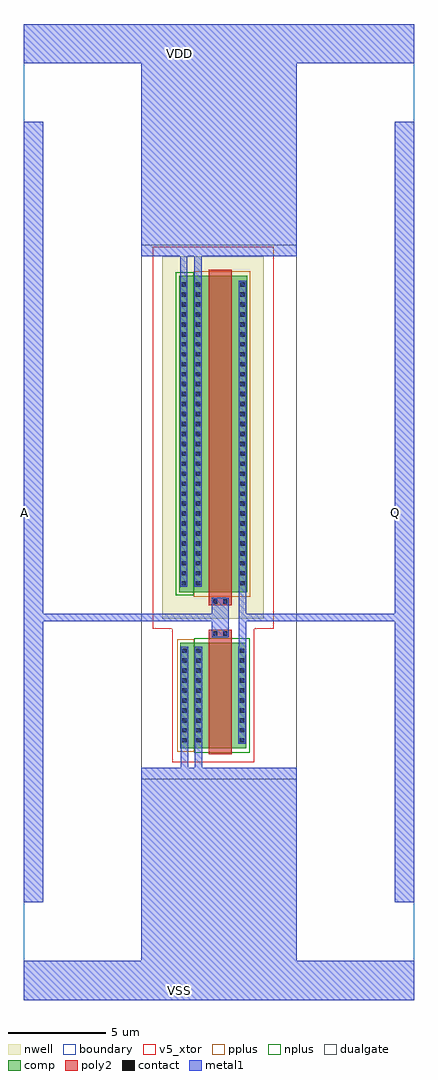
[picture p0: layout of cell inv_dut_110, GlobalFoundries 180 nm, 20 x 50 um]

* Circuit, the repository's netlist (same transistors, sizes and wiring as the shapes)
* inv_dut_110: pfet_05v0 W=16.20u L=1.20u / nfet_05v0 W=5.40u L=1.20u
.SUBCKT inv_dut_110 A Q VDD VSS
MMP Q A VDD VDD pfet_05v0 W=16.20u L=1.20u
MMN Q A VSS VSS nfet_05v0 W=5.40u L=1.20u
.ENDS

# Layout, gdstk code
import gdstk
lib = gdstk.Library(unit=1e-6, precision=1e-09)
def R(c, l, rs):  # rectangles x0, y0, x1, y1
    for r in rs: c.add(gdstk.rectangle(r[:2], r[2:], *l))
def A(c, l, x, y, w, h, nx, ny, dx, dy):  # array of equal rectangles
    R(c, l, [(x+i*dx, y+j*dy, x+i*dx+w, y+j*dy+h) for i in range(nx) for j in range(ny)])
boundary = (0, 0)
nwell = (21, 0)
comp = (22, 0)
poly2 = (30, 0)
pplus = (31, 0)
nplus = (32, 0)
contact = (33, 0)
metal1 = (34, 0)
dualgate = (55, 0)
v5_xtor = (112, 1)

inv_dut_110 = lib.new_cell('inv_dut_110')
R(inv_dut_110, boundary, [(-10,-25,10,25)])
R(inv_dut_110, nwell, [(-2.895,-5.47,2.295,13.09)])
R(inv_dut_110, comp, [(-1.975,-12.1,1.395,-6.7), (-2.035,-4.1,1.435,12.1)])
R(inv_dut_110, poly2, [(-0.535,-12.4,0.665,-6.04), (-0.535,-4.78,0.665,12.4)])
R(inv_dut_110, pplus, [(-2.145,-12.27,-1.265,-6.53), (-1.305,-4.34,1.605,12.34)])
R(inv_dut_110, nplus, [(-1.265,-12.34,1.565,-6.46), (-2.205,-4.27,-1.305,12.27)])
A(inv_dut_110, contact, -1.875, -11.805, 0.22, 0.22, 1, 10, 0, 0.51)
A(inv_dut_110, contact, -1.165, -11.805, 0.22, 0.22, 1, 10, 0, 0.51)
A(inv_dut_110, contact, 1.075, -11.805, 0.22, 0.22, 1, 10, 0, 0.51)
A(inv_dut_110, contact, -1.915, -3.76, 0.22, 0.22, 1, 31, 0, 0.51)
A(inv_dut_110, contact, -1.185, -3.76, 0.22, 0.22, 1, 31, 0, 0.51)
A(inv_dut_110, contact, 1.095, -3.76, 0.22, 0.22, 1, 31, 0, 0.51)
R(inv_dut_110, contact, [(-0.3,-6.33,-0.08,-6.11), (0.21,-6.33,0.43,-6.11), (-0.3,-4.7,-0.08,-4.48), (0.21,-4.7,0.43,-4.48)])
R(inv_dut_110, metal1, [(-10,-25,10,-23), (-3.995,-23,3.995,-13.4), (-10,-20,-9,20), (9,-20,10,20), (-3.995,-13.7,3.995,-13.1), (-1.955,-13.7,-1.575,-6.915), (-1.245,-13.7,-0.865,-6.915), (-1.955,-11.885,-1.575,-6.915), (-1.245,-11.885,-0.865,-6.915), (0.995,-11.885,1.375,-6.915), (0.995,-7.295,1.395,-6.915), (1.015,-7.295,1.395,-3.46), (-0.38,-6.41,0.51,-4.4), (-0.38,-6.41,0.51,-6.03), (-9,-5.6,-3.695,-5.2), (-3.995,-5.6,0.51,-5.2), (1.015,-5.6,3.995,-5.2), (3.695,-5.6,9,-5.2), (-0.38,-4.78,0.51,-4.4), (-1.995,-3.84,-1.615,13.7), (-1.995,-3.84,-1.615,11.84), (-1.265,-3.84,-0.885,13.7), (-1.265,-3.84,-0.885,11.84), (1.015,-3.84,1.395,-3.46), (1.015,-3.84,1.395,11.84), (-3.995,13.1,3.995,13.7), (-3.995,13.4,3.995,23), (-10,23,10,25)])
R(inv_dut_110, dualgate, [(-3.995,-13.7,3.995,13.7), (-2.395,-12.81,1.815,-5.62), (-3.395,-5.97,2.795,13.59)])
R(inv_dut_110, v5_xtor, [(-2.395,-12.81,1.815,-5.62), (-3.395,-5.97,2.795,13.59)])
inv_dut_110.add(gdstk.Label('VDD', (-2,23.5), layer=34, texttype=10))
inv_dut_110.add(gdstk.Label('VSS', (-2,-24.5), layer=34, texttype=10))
inv_dut_110.add(gdstk.Label('A', (-9.97,0), layer=34, texttype=10))
inv_dut_110.add(gdstk.Label('Q', (9.03,0), layer=34, texttype=10))

lib.write_gds('inv_dut_110.gds')
